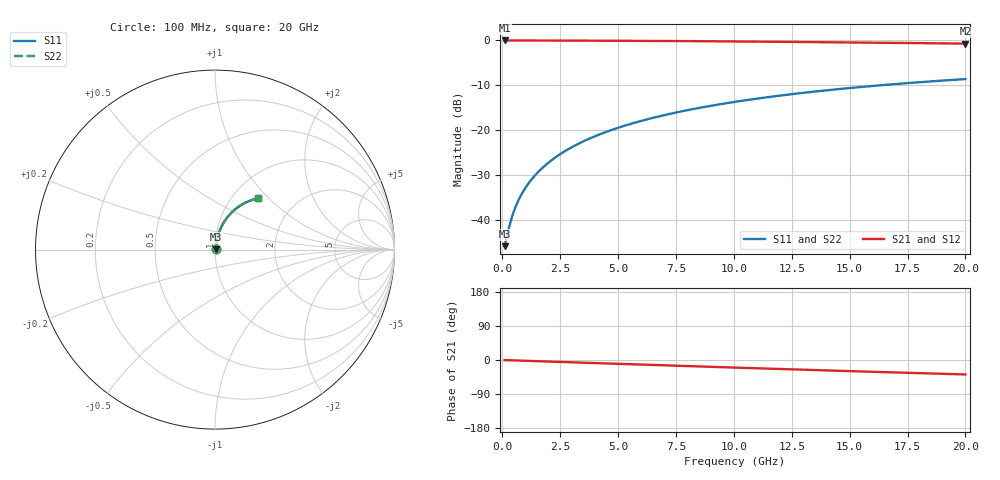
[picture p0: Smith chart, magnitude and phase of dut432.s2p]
! Touchstone file exported from HFSS 2026.1.0
!  File:  C:/ffzhzh/LocalFiles/Ansys_Project_Files/temp_train_TMRDL_432_1783005463_55676.aedt
!  Generated:  11:19:08 PM Jul  2, 2026
!  Design:  TMRDL
!  Project:  temp_train_TMRDL_432_1783005463_55676
! Variables:
!  h_bsmrdl = 2um
!  h_ox = 20um
!  h_rdl = 5um
!  h_sub = 80um
!  h_tmrdl = 2.1um
!  h_tsv = 80um
!  h_via = 3um
!  l_bsmrdl = 300um
!  l_sub = 930.26um
!  l_tmrdl = 530.26um
!  m_sub = 200um
!  pitch = 46.25um
!  r_tsv = 6um
!  s_tmrdl = 10um
!  w_bsmrdl = 18um
!  w_sub = 500um
!  w_tmrdl = 20.94um
!  x_tsv_center1 = 540.73um
!  x_tsv_center2 = 858.73um
!  x_tsv_center3 = 1409.93um
!  x_tsv_center4 = 1727.93um
!  x_tsv_center5 = 2279.13um
!  x_tsv_center6 = 2597.13um
# GHz S MA R 50.000000
! Terminal data exported
! Port[1] = TM_RDL1_1_T1
! Port[2] = TM_RDL1_1_T2
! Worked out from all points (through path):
!   200 points, 100 MHz to 20 GHz, reference 50 ohm
!   highest |S21| = -0.04 dB at 100 MHz (marker M1); lowest = -0.7 dB at 20 GHz (marker M2)
!   group delay of S21, straight-line fit = 5.32 ps
!   lowest |S11| = -45.8 dB at 100 MHz (marker M3), VSWR 1.01, Z = 50.5 + j0.238 ohm
!   |S11| at or under -10 dB: start of sweep to 16.33 GHz
!   |S22| runs from -45.8 to -8.6 dB; largest |S21 - S12| = 2.8e-15
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0.1  0.005157 27.2  0.9954 -0.2  0.9954 -0.2  0.005157 27.2
! Gamma 0 0 0 0
! Port Impedance 50 0 50 0
0.3  0.008511 55.1  0.9952 -0.6  0.9952 -0.6  0.008511 55.1
0.4  0.01053 61.2  0.995 -0.9  0.995 -0.9  0.01053 61.2
0.5  0.01259 65.1  0.9948 -1.1  0.9948 -1.1  0.01259 65.1
0.6  0.01466 67.8  0.9947 -1.3  0.9947 -1.3  0.01466 67.8
0.7  0.01674 69.9  0.9945 -1.5  0.9945 -1.5  0.01674 69.9
0.9  0.02088 72.7  0.9942 -1.9  0.9942 -1.9  0.02088 72.7
1.2  0.0271 75.2  0.9939 -2.5  0.9939 -2.5  0.0271 75.2
1.4  0.03126 76.3  0.9937 -2.9  0.9937 -2.9  0.03126 76.3
1.7  0.03753 77.3  0.9933 -3.5  0.9933 -3.5  0.03753 77.3
2.2  0.04801 78.2  0.9927 -4.5  0.9927 -4.5  0.04801 78.2
2.8  0.06062 78.4  0.9919 -5.7  0.9919 -5.7  0.06062 78.4
3.5  0.07532 78.0  0.9908 -7.1  0.9908 -7.1  0.07532 78.0
4.2  0.08997 77.3  0.9895 -8.5  0.9895 -8.5  0.08997 77.3
5  0.1066 76.3  0.9876 -10.1  0.9876 -10.1  0.1066 76.3
5.9  0.1251 74.9  0.9853 -11.9  0.9853 -11.9  0.1251 74.9
6.8  0.1434 73.5  0.9826 -13.7  0.9826 -13.7  0.1434 73.5
8.3  0.1733 70.9  0.9774 -16.7  0.9774 -16.7  0.1733 70.9
10.1  0.208 67.7  0.9702 -20.2  0.9702 -20.2  0.208 67.7
13.4  0.2678 61.7  0.9546 -26.4  0.9546 -26.4  0.2677 61.7
16.7  0.3221 55.9  0.937 -32.4  0.937 -32.4  0.3221 55.9
20  0.3706 50.2  0.9183 -38.2  0.9183 -38.2  0.3706 50.2
